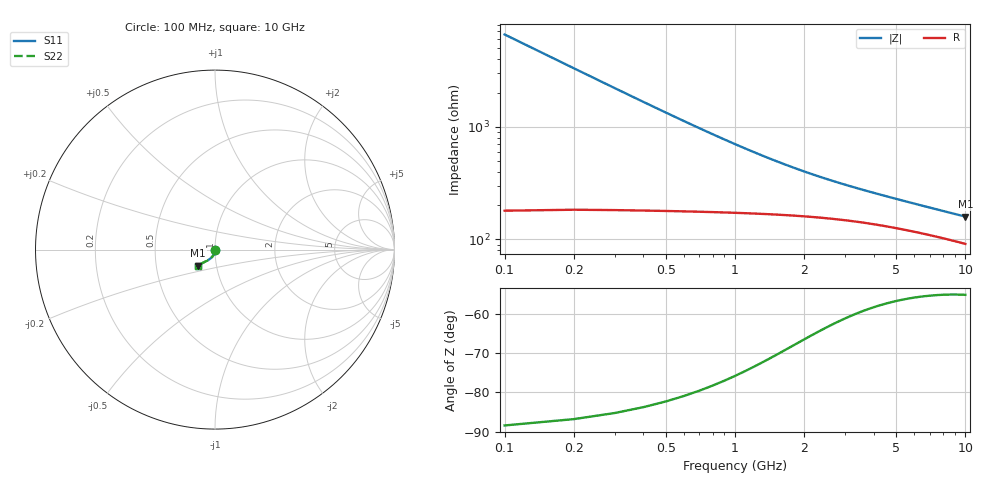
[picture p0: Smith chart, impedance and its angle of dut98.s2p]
! Touchstone file exported from HFSS 2024.1.0
!  File:  C:/UserFiles/LocalFiles/RDL_TSV_Batchsim/temp_TSV1_98_1778751974.aedt
!  Generated:  05:51:05 PM May 14, 2026
!  Design:  TSV1
!  Project:  temp_TSV1_98_1778751974
!  Setup:  Setup1
!  Solution:  Sweep
! Variables:
!  dtsv = 21.13um
!  hbump = 3um
!  htsv = 95um
!  lrdl = 252.1521522um
!  p = 40
!  p1 = 47.14um
!  t = 500um
!  trdl = 3um
!  wrdl = 24.89489489um
# GHz S MA R 50.000000
! Terminal data exported
! Port[1] = TSV22_T1
! Port[2] = TSV22_T2
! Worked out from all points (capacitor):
!   100 points, 100 MHz to 10 GHz, reference 50 ohm
!   read as one part in shunt: C = 242 fF near 100 MHz
!   lowest |Z| = 159 ohm at 10 GHz (marker M1)
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0.1  0.003528 -90.4  0.9998 -0.2  0.9998 -0.2  0.003528 -90.4
! Gamma 0 0 0 0
! Port Impedance 50 0 50 0
0.2  0.007052 -93.0  0.9994 -0.5  0.9994 -0.5  0.007052 -93.0
0.3  0.01056 -95.0  0.9989 -0.7  0.9989 -0.7  0.01056 -95.0
0.4  0.01402 -96.9  0.9981 -0.9  0.9981 -0.9  0.01402 -96.9
0.5  0.01742 -98.6  0.9971 -1.1  0.9971 -1.1  0.01742 -98.6
0.6  0.02075 -100.3  0.996 -1.3  0.996 -1.3  0.02075 -100.3
0.7  0.024 -102.0  0.9948 -1.5  0.9948 -1.5  0.024 -102.0
0.8  0.02716 -103.5  0.9934 -1.7  0.9934 -1.7  0.02716 -103.5
0.9  0.03022 -105.1  0.9919 -1.9  0.9919 -1.9  0.03022 -105.1
1.1  0.03603 -107.9  0.9888 -2.3  0.9888 -2.3  0.03603 -107.9
1.4  0.04394 -111.8  0.9838 -2.7  0.9838 -2.7  0.04394 -111.8
1.6  0.0487 -114.1  0.9804 -3.0  0.9804 -3.0  0.0487 -114.1
1.8  0.05308 -116.2  0.977 -3.2  0.977 -3.2  0.05308 -116.2
2.1  0.059 -118.9  0.9722 -3.5  0.9722 -3.5  0.059 -118.9
2.5  0.06587 -121.9  0.9662 -3.9  0.9662 -3.9  0.06587 -121.9
2.9  0.07184 -124.3  0.9607 -4.2  0.9607 -4.2  0.07184 -124.3
3.4  0.07835 -126.7  0.9547 -4.6  0.9547 -4.6  0.07835 -126.7
4.2  0.08724 -129.4  0.9466 -5.0  0.9466 -5.0  0.08724 -129.4
5.1  0.09577 -131.6  0.9389 -5.5  0.9389 -5.5  0.09577 -131.6
6.7  0.1085 -134.0  0.928 -6.4  0.928 -6.4  0.1085 -134.0
8.4  0.1199 -135.6  0.9187 -7.2  0.9187 -7.2  0.1199 -135.6
10  0.1292 -136.6  0.9115 -7.9  0.9115 -7.9  0.1292 -136.6
